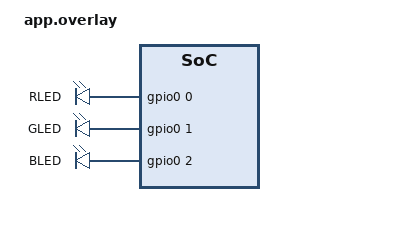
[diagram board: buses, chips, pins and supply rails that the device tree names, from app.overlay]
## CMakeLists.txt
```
cmake_minimum_required(VERSION 3.13.1)
find_package(Zephyr REQUIRED HINTS $ENV{ZEPHYR_BASE})

project(app LANGUAGES C)

target_sources(app PRIVATE src/*.c)
```

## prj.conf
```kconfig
CONFIG_GPIO=y
CONFIG_PWM=y
CONFIG_PRINTK=y
```

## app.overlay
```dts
//let's drive some led, pin ?

/ {
	leds {
		redled: redled {
			gpios = <&gpio0 0 GPIO_ACTIVE_HIGH>;
			label = "RLED";
		};
		greenled: gled {
			gpios = <&gpio0 1 GPIO_ACTIVE_HIGH>;
			label = "GLED";
		};
		blueled: blueled {
			gpios = <&gpio0 2 GPIO_ACTIVE_HIGH>;
			label = "BLED";
		};
	};
};
```

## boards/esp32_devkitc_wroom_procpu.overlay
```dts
/{
  leds {
    status = "okay";
    compatible = "gpio-leds";
        gled: gled {
            gpios = <&gpio0 2 GPIO_ACTIVE_HIGH>;
            label = "GLED";
        };
};
};
```

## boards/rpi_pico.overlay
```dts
/ {
    leds {
        gled: gled {
            gpios = <&gpio0 25 GPIO_ACTIVE_HIGH>;
            label = "GLED";
        };
    };

    buttons {
        status = "okay";
        compatible = "gpio-keys";
        first_button: button {
            label = "our_first_button";
            gpios = <&gpio0 21 (GPIO_ACTIVE_LOW | GPIO_PULL_UP)>;
        };
    };

    pwmleds {
        status = "okay";
        compatible= "pwm-leds";
        pwm_led: pwm_led4 {
            label = "pwm led";
            pwms = <&pwm 4 PWM_HZ(1000000) PWM_POLARITY_NORMAL>;
        };
    };
};

&pwm {
    status = "okay";
    pinctrl-0 = <&pwm_ch2a_default>;
    divider-int-2 = <5>;
    divider-frac-2 = <15>;
};
&pinctrl {
    status = "okay";
    pwm_ch2a_default: pwm_ch2a_default {
		group1 {
			pinmux = <PWM_2A_P20>;
		};
	};
};
```

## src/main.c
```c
#include <zephyr/kernel.h>
#include <zephyr/drivers/gpio.h>

/* we just found the device identifier  */
#define RLED_NODE DT_NODELABEL(redled)
#define GLED_NODE DT_NODELABEL(greenled)
#define BLED_NODE DT_NODELABEL(blueled)

/* from device idnetifier, we create a gpio spec (struct contains info such as (port, pin, flags))  */
static const struct gpio_dt_spec rled_spec = GPIO_DT_SPEC_GET(RLED_NODE, gpios);
static const struct gpio_dt_spec gled_spec = GPIO_DT_SPEC_GET(GLED_NODE, gpios);
static const struct gpio_dt_spec bled_spec = GPIO_DT_SPEC_GET(BLED_NODE, gpios);

/*First: we need the led instance created*/
int main(void)
{   
    /* check if devices are ready or available */
    int rc0= 0;
    int rc1= 0;
    int rc2= 0;
    rc0=gpio_is_ready_dt(&rled_spec);
    rc1=gpio_is_ready_dt(&gled_spec);
    rc2=gpio_is_ready_dt(&bled_spec);
    if (!rc0)
    {   
        // some error has occured, device is not ready
        printk("Red led not ready, error code [%d]", rc0);
        return rc0;
    }
    if (!rc1)
    {   
        // some error has occured, device is not ready
        printk("Green led not ready, error code [%d]", rc1);
        return rc1;
    }
    if (!rc2)
    {   
        // some error has occured, device is not ready
        printk("Blue led not ready, error code [%d]", rc2);
        return rc2;
    }
    //configure the pins states (output or input)
    //so by code we control the gpio pin state, since devicetree dont know the state of pin unless we define state
    rc0 = gpio_pin_configure_dt(&rled_spec, GPIO_OUTPUT_ACTIVE);
    rc1 = gpio_pin_configure_dt(&gled_spec, GPIO_OUTPUT_ACTIVE);
    rc2 = gpio_pin_configure_dt(&bled_spec, GPIO_OUTPUT_ACTIVE);

    if (rc0 < 0)
    {
        printk("GPIO Pin config error [%d]",rc0);
        return rc0;
    }
    if (rc1 < 0)
    {
        printk("GPIO Pin config error [%d]",rc1);
        return rc1;
    }
    if (rc2 < 0)
    {
        printk("GPIO Pin config error [%d]",rc2);
        return rc2;
    }
    
    while (1)
    {
        /* on some leds and off some leds */
        rc0 = gpio_pin_set_dt(&rled_spec, 1U);// unsigned 1
        if (rc0 < 0)
        {
            printk("Rled cannot set logical high, [%d]",rc0);
            return rc0;
        }
        k_msleep(1000);
        rc1 = gpio_pin_set_dt(&gled_spec, 1U);// unsigned 1
        if (rc1 < 0)
        {
            printk("Gled cannot set logical high, [%d]",rc1);
            return rc1;
        }
        k_msleep(1000);
        rc2 = gpio_pin_set_dt(&bled_spec, 1U);// unsigned 1
        if (rc2 < 0)
        {
            printk("Bled cannot set logical high, [%d]",rc2);
            return rc2;
        }
        k_msleep(1000);
        rc0 = gpio_pin_set_dt(&rled_spec, 0U);// unsigned 1
        if (rc0 < 0)
        {
            printk("Rled cannot set logical high, [%d]",rc0);
            return rc0;
        }
        k_msleep(1000);
        rc1 = gpio_pin_set_dt(&gled_spec, 0U);// unsigned 1
        if (rc1 < 0)
        {
            printk("Gled cannot set logical high, [%d]",rc1);
            return rc1;
        }
        k_msleep(1000);
        rc2 = gpio_pin_set_dt(&bled_spec, 0U);// unsigned 1
        if (rc2 < 0)
        {
            printk("Bled cannot set logical high, [%d]",rc2);
            return rc2;
        }
        k_msleep(1000);
        


    }
    printk("Hello World!\n");
    return 0;
}
```

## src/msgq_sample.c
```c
#include <zephyr/kernel.h>
#include <zephyr/drivers/gpio.h>

#define GLED_NODE DT_NODELABEL(gled)
static const struct gpio_dt_spec gled = GPIO_DT_SPEC_GET(GLED_NODE, gpios);

/* Message format: what producers send and the consumer receives */
struct sensor_msg {
    uint8_t  id;        /* which producer */
    uint32_t ts;        /* uptime in ms */
    int32_t  value;
};

/* Queue: holds up to 8 messages, each sizeof(struct sensor_msg), 4-byte aligned */
K_MSGQ_DEFINE(sensor_q, sizeof(struct sensor_msg), 8, 4);

/* Per-producer settings, passed to the thread through p1 */
struct producer_cfg {
    uint8_t  id;
    uint32_t period_ms;
};
static const struct producer_cfg soil_cfg = { .id = 1, .period_ms = 500 };
static const struct producer_cfg ldr_cfg  = { .id = 2, .period_ms = 300 };

static void producer(void *p1, void *p2, void *p3)
{
    const struct producer_cfg *cfg = p1;
    uint32_t count = 0;

    while (1) {
        struct sensor_msg msg = {
            .id    = cfg->id,
            .ts    = k_uptime_get_32(),
            .value = 500 + (count++ * 37) % 200,   /* fake reading */
        };

        /* wait up to 10 ms for space; never block forever */
        int ret = k_msgq_put(&sensor_q, &msg, K_MSEC(10));
        if (ret != 0) {
            printk("producer %u: queue full, message dropped\n", cfg->id);
        }
        k_msleep(cfg->period_ms);
    }
}

static void consumer(void *p1, void *p2, void *p3)
{
    struct sensor_msg msg;

     gpio_pin_configure_dt(&gled, GPIO_OUTPUT_INACTIVE);

    while (1) {
        /* sleeps here until a message arrives (no polling) */
        k_msgq_get(&sensor_q, &msg, K_FOREVER);

        gpio_pin_toggle_dt(&gled);
        printk("[%u ms] sensor %u = %d  (queued: %u)\n",
               msg.ts, msg.id, msg.value, k_msgq_num_used_get(&sensor_q));
    }
}

int main(void)
{
    printk("message passing demo started\n");
    return 0;
}
K_THREAD_DEFINE(soil_th, 1024, producer, &soil_cfg, NULL, NULL, 5, 0, 0);
K_THREAD_DEFINE(ldr_th,  1024, producer, &ldr_cfg,  NULL, NULL, 5, 0, 0);
K_THREAD_DEFINE(cons_th, 1024, consumer, NULL,      NULL, NULL, 4, 0, 0);
```

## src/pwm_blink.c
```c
#include <zephyr/kernel.h>
#include <zephyr/drivers/gpio.h>
#include <zephyr/drivers/pwm.h>


#define GLED_NODE DT_NODELABEL(gled)
#define BUTTON1  DT_NODELABEL(first_button)
#define PWM_BLINKY DT_NODELABEL(pwm_led)


static const struct gpio_dt_spec gled_spec = GPIO_DT_SPEC_GET(GLED_NODE, gpios);
static const struct gpio_dt_spec mybutton = GPIO_DT_SPEC_GET_OR(BUTTON1, gpios,{0});
const struct pwm_dt_spec pwm_blinky_led = PWM_DT_SPEC_GET(PWM_BLINKY);


void set_pwm_brightness(uint8_t brightness);

static struct gpio_callback mybutton_cb_data;
#define FAN_STATES 4
uint8_t fan_state_step=0;
uint8_t fan_speed=0;

void mybutton_cb(const struct device *dev, struct gpio_callback *cb, uint32_t pins)
{
       fan_state_step=(fan_state_step+1)%FAN_STATES;

       switch(fan_state_step){
        case 0:
            fan_speed=0;
            break;
         
        case 1:
            fan_speed=25;
            break;

        case 2:
            fan_speed=75;
            break;

        case 3:
            fan_speed=100;
            break;

        default:
            printk("The step size is invalid");
            break;
       }
       set_pwm_brightness(fan_speed);
    }
void set_pwm_brightness(uint8_t brightness){
    pwm_set_pulse_dt(&pwm_blinky_led,(pwm_blinky_led.period*brightness)/100);

}
static uint8_t pwm_breathing_brightness=0;

enum dir {UP,DOWN};
enum dir direction=UP;

// struct k_timer my_timer;
void control_brightness();
// K_TIMER_DEFINE(my_timer,control_brightness, NULL);

void control_brightness(){
    set_pwm_brightness(pwm_breathing_brightness);
    if (direction==UP){
        pwm_breathing_brightness++;
    }
    if (direction==DOWN){
         pwm_breathing_brightness--;
    }
    if(pwm_breathing_brightness==0){
        direction=UP;
    }
    if(pwm_breathing_brightness==100){
        direction=DOWN;
    }
}

int main(void)
{
    int rc = 0;
    rc= pwm_is_ready_dt	(&pwm_blinky_led);
    if(!rc){
        printk("PWM not ready, error code [%d]\n", rc);
        return rc;
    }	
    rc = gpio_is_ready_dt(&gled_spec);
    if(!rc)
    {
        printk("GLed not ready, error code [%d]\n", rc);
        return rc;
    }
    rc = gpio_pin_configure_dt(&gled_spec, GPIO_OUTPUT_ACTIVE);
    if(rc < 0)
    {
        printk("Gled pin confi error [%d]\n", rc);
        return rc;
    }
    rc = gpio_is_ready_dt(&mybutton);
    if(!rc) {
        printk("Button device is not ready\n");
        return rc;
    }
    /* k_timer_start(&my_timer, K_MSEC(1000), K_MSEC(10));
    printk("PWM period in nanosecond from a device tree %u \n",pwm_blinky_led.period);
    rc=pwm_set_pulse_dt(&pwm_blinky_led,pwm_blinky_led.period);
    if(rc<0){
        printk("set pulse failed\n");
    }
        */
    rc = gpio_pin_configure_dt(&mybutton, GPIO_INPUT);
    if(rc < 0)  
    {
        printk("Can't cfg mybutton pin type\n");
        return rc;
    }
    rc = gpio_pin_interrupt_configure_dt(&mybutton, GPIO_INT_EDGE_TO_INACTIVE);
    if(rc != 0)
    {
        printk("Can't cfg interrupt for mybutton [%d]\n", rc);
        return rc;
    }
    gpio_init_callback(&mybutton_cb_data, mybutton_cb, BIT(mybutton.pin));
    
    rc = gpio_add_callback_dt(&mybutton, &mybutton_cb_data);
    if(rc) {
        printk("Unable to add callback for my button\n");
        return rc;
    }

    while (1)
    {
        /*we toggle the led */
        rc = gpio_pin_set_dt(&gled_spec, 1U);
        if(rc < 0) {
            printk("Gled cant set logical HIGH\n");
            return rc;
        }
        k_msleep(1000);
        rc = gpio_pin_set_dt(&gled_spec, 0U);
        if(rc < 0) {
            printk("Gled cant set logical LOW\n");
            return rc;
        }
        k_msleep(1000);
    }

}
 /*#define MY_STACK_SIZE 4096
#define MY_PRIORITY 5
extern void pwm_breathing(void *, void *, void *){
    while(1){
        control_brightness();
        k_msleep(50);
        printk("The brightness of led %u and direction %u\n",pwm_breathing_brightness,direction);
    }

}
K_THREAD_DEFINE(breathing_th1, MY_STACK_SIZE,
                pwm_breathing, NULL, NULL, NULL,
                MY_PRIORITY, 0, 300);
*/
```

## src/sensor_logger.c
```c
#include <zephyr/kernel.h>
#include <zephyr/drivers/gpio.h>

#define USE_LOCK 1          /* set to 0 to see the race condition */
#define LOG_SIZE 32

#define GREEN_LED DT_NODELABEL(gled)
static const struct gpio_dt_spec gled = GPIO_DT_SPEC_GET(GREEN_LED,gpios);

struct sensor_msg {
   uint8_t id; 
   uint32_t ts;
   int32_t value; 
  };

K_MSGQ_DEFINE(sensor_q, sizeof(struct sensor_msg), 8, 4);

/* ---- shared data, protected by log_mtx ---- */
static struct sensor_msg log_buf[LOG_SIZE];
static size_t log_head, log_count;

struct stats {
    uint32_t count[3];      /* index = sensor id (1, 2) */
    int32_t  sum[3];
    uint32_t total;         /* invariant: count[1] + count[2] == total */
};
static struct stats st;

K_MUTEX_DEFINE(log_mtx);

static inline void lock(void)   { if (USE_LOCK) k_mutex_lock(&log_mtx, K_FOREVER); }
static inline void unlock(void) { if (USE_LOCK) k_mutex_unlock(&log_mtx); }

/* ---- producers ---- */
struct producer_cfg { uint8_t id; uint32_t period_ms; };
static const struct producer_cfg soil_cfg = { 1, 500 };
static const struct producer_cfg ldr_cfg  = { 2, 300 };

static void producer(void *p1, void *p2, void *p3)
{
    const struct producer_cfg *cfg = p1;
    uint32_t n = 0;

    while (1) {
        struct sensor_msg m = {
            .id = cfg->id,
            .ts = k_uptime_get_32(),
            .value = 500 + (n++ * 37) % 200,
        };
        if (k_msgq_put(&sensor_q, &m, K_MSEC(10)) != 0) {
            printk("producer %u: queue full, dropped\n", cfg->id);
        }
        k_msleep(cfg->period_ms);
    }
}

/* ---- logger: queue -> ring buffer + stats ---- */
static void logger(void *p1, void *p2, void *p3)
{
    struct sensor_msg m;

    gpio_pin_configure_dt(&gled, GPIO_OUTPUT_INACTIVE);

    while (1) {
        k_msgq_get(&sensor_q, &m, K_FOREVER);

        lock();
        log_buf[log_head] = m;
        log_head = (log_head + 1) % LOG_SIZE;
        if (log_count < LOG_SIZE) log_count++;

        st.count[m.id]++;
        k_busy_wait(20000);          /* pretend this is a slow flash write (20 ms) */
        st.sum[m.id] += m.value;
        st.total++;                  /* stats are only consistent after this line */
        unlock();

        gpio_pin_toggle_dt(&gled);
    }
}

/* ---- reporter: periodically reads the shared data ---- */
static void reporter(void *p1, void *p2, void *p3)
{
    uint32_t rounds = 0;

    while (1) {
        k_msleep(500);

        struct stats snap;
        lock();
        snap = st;                   /* copy quickly, print after unlocking */
        unlock();

        if (snap.count[1] + snap.count[2] != snap.total) {
            printk("!! INCONSISTENT: %u + %u != %u\n",
                   snap.count[1], snap.count[2], snap.total);
        }
        if (++rounds % 10 == 0) {
            printk("--- sensor1: %u samples, avg %d | sensor2: %u samples, avg %d | total %u ---\n",
                   snap.count[1], snap.count[1] ? snap.sum[1] / (int32_t)snap.count[1] : 0,
                   snap.count[2], snap.count[2] ? snap.sum[2] / (int32_t)snap.count[2] : 0,
                   snap.total);
        }
    }
}

K_THREAD_DEFINE(soil_th, 2048, producer, &soil_cfg, NULL, NULL, 5, 0, 0);
K_THREAD_DEFINE(ldr_th,  2048, producer, &ldr_cfg,  NULL, NULL, 5, 0, 0);
K_THREAD_DEFINE(log_th,  2048, logger,   NULL, NULL, NULL, 4, 0, 0);
K_THREAD_DEFINE(rep_th,  2048, reporter, NULL, NULL, NULL, 3, 0, 0);  /* highest priority */

int main(void)
{
    printk("sensor logger started (USE_LOCK=%d)\n", USE_LOCK);
    return 0;
}
```
